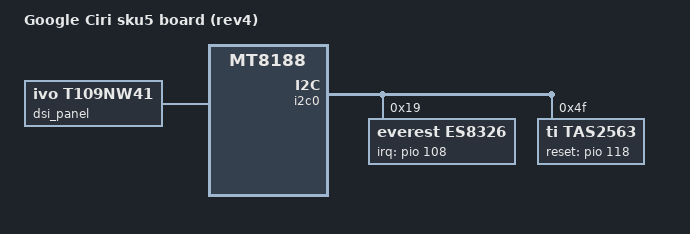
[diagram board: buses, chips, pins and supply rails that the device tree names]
// SPDX-License-Identifier: (GPL-2.0 OR MIT)
/*
 * Copyright 2024 Google LLC
 */
/dts-v1/;
#include "mt8188-geralt-ciri.dtsi"

/ {
	model = "Google Ciri sku5 board (rev4)";
	compatible = "google,ciri-sku5", "google,ciri", "mediatek,mt8188";
};

&dsi_panel {
	compatible = "ivo,t109nw41", "himax,hx83102";
};

&touchscreen {
	himax,pid = <0x1003>;
	firmware-name = "himax_i2chid_1003.bin";
};

&i2c0 {
	/delete-node/ audio-codec@1a;
	/delete-node/ amplifier@38;
	/delete-node/ amplifier@39;

	es8326: audio-codec@19 {
		compatible = "everest,es8326";
		reg = <0x19>;
		interrupts-extended = <&pio 108 IRQ_TYPE_LEVEL_LOW>;
		#sound-dai-cells = <0>;
		everest,jack-pol = [0e];
		everest,interrupt-clk = [00];
	};

	tas2563: amplifier@4f {
		compatible = "ti,tas2563", "ti,tas2781";
		reg = <0x4f>, <0x4c>; /* left / right channel */
		reset-gpios = <&pio 118 GPIO_ACTIVE_HIGH>;
		#sound-dai-cells = <0>;
	};
};

&sound {
	compatible = "mediatek,mt8188-es8326";
	model = "mt8188_tas2563_8326";

	audio-routing =
		"ETDM1_OUT", "ETDM_SPK_PIN",
		"ETDM2_OUT", "ETDM_HP_PIN",
		"ETDM1_IN", "ETDM_SPK_PIN",
		"ETDM2_IN", "ETDM_HP_PIN",
		"ADDA Capture", "MTKAIF_PIN",
		"Headphone Jack", "HPOL",
		"Headphone Jack", "HPOR",
		"MIC1", "Headset Mic";
	status = "okay";

	spk-playback-dai-link {
		codec {
			sound-dai = <&tas2563>;
		};
	};

	hs-capture-dai-link {
		codec {
			sound-dai = <&es8326>;
		};
	};

	hs-playback-dai-link {
		codec {
			sound-dai = <&es8326>;
		};
	};
};
